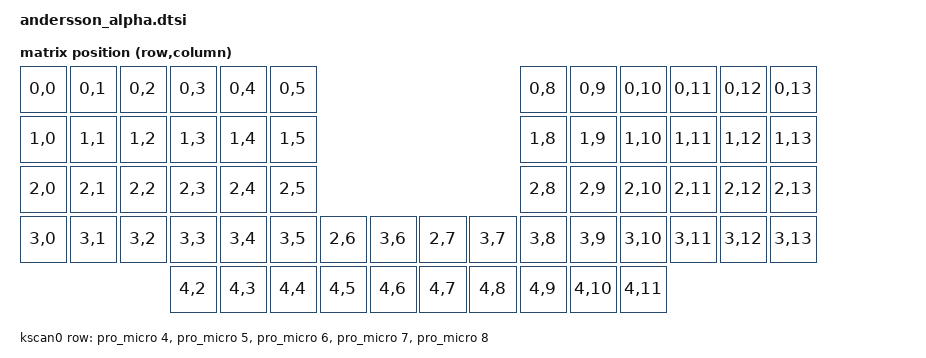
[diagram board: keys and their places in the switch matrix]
#include <dt-bindings/zmk/matrix_transform.h>

/ {
	chosen {
		zephyr,display = &oled;
		zmk,kscan = &kscan0;
		zmk,matrix_transform = &default_transform;
	};

	default_transform: keymap_transform_0 {
		compatible = "zmk,matrix-transform";
		columns = <14>;
		rows = <5>;
// | L00 | L04 | L08 | L12 | L16 | L20 |                           | R20 | R16 | R12 | R08 | R04 | R00 |
// | L01 | L05 | L09 | L13 | L17 | L21 |                           | R21 | R17 | R13 | R09 | R05 | R01 |
// | L02 | L06 | L10 | L14 | L18 | L22 |                           | R22 | R18 | R14 | R10 | R06 | R02 |
// | L03 | L07 | L11 | L15 | L19 | L23 | L29 | L30 |   | R30 | R29 | R23 | R19 | R15 | R11 | R07 | R03 |
//                   | L24 | L25 | L26 | L27 | L28 |   | R28 | R27 | R26 | R25 | R24 |
		map = <
RC(0,0) RC(0,1) RC(0,2) RC(0,3) RC(0,4) RC(0,5)                                   RC(0,8) RC(0,9)  RC(0,10) RC(0,11) RC(0,12) RC(0,13)
RC(1,0) RC(1,1) RC(1,2) RC(1,3) RC(1,4) RC(1,5)                                   RC(1,8) RC(1,9)  RC(1,10) RC(1,11) RC(1,12) RC(1,13)
RC(2,0) RC(2,1) RC(2,2) RC(2,3) RC(2,4) RC(2,5)                                   RC(2,8) RC(2,9)  RC(2,10) RC(2,11) RC(2,12) RC(2,13)
RC(3,0) RC(3,1) RC(3,2) RC(3,3) RC(3,4) RC(3,5) RC(2,6) RC(3,6)   RC(2,7) RC(3,7) RC(3,8) RC(3,9)  RC(3,10) RC(3,11) RC(3,12) RC(3,13)
                        RC(4,2) RC(4,3) RC(4,4) RC(4,5) RC(4,6)   RC(4,7) RC(4,8) RC(4,9) RC(4,10) RC(4,11)
		>;
	};

	kscan0: kscan {
		compatible = "zmk,kscan-gpio-matrix";
		label = "KSCAN";

		diode-direction = "col2row";
		row-gpios
			= <&pro_micro 4 (GPIO_ACTIVE_HIGH | GPIO_PULL_DOWN)>
			, <&pro_micro 5 (GPIO_ACTIVE_HIGH | GPIO_PULL_DOWN)>
			, <&pro_micro 6 (GPIO_ACTIVE_HIGH | GPIO_PULL_DOWN)>
			, <&pro_micro 7 (GPIO_ACTIVE_HIGH | GPIO_PULL_DOWN)>
			, <&pro_micro 8 (GPIO_ACTIVE_HIGH | GPIO_PULL_DOWN)>
			;
	};
};

&pro_micro_i2c {
	status = "okay";

	oled: ssd1306@3c {
		compatible = "solomon,ssd1306fb";
		reg = <0x3c>;
		label = "DISPLAY";
		width = <128>;
		height = <64>;
		segment-offset = <0>;
		page-offset = <0>;
		display-offset = <0>;
		multiplex-ratio = <63>;
		prechargep = <0x22>;
	};
};
